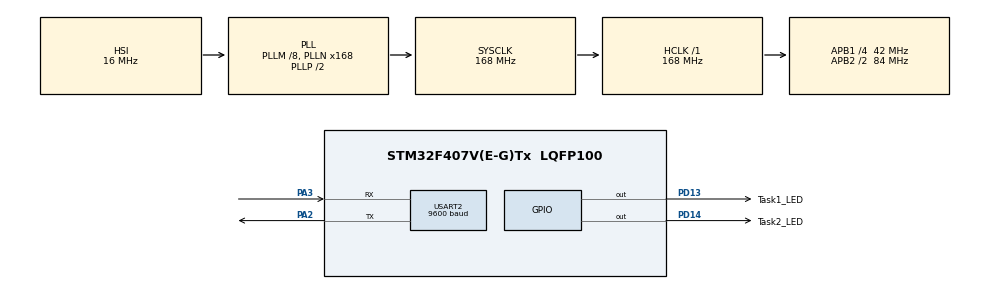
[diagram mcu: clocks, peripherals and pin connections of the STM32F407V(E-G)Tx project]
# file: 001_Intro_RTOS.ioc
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FREERTOS.Tasks01=myTask1,0,128,StartDefaultTask,Default,NULL,Dynamic,NULL,NULL;myTask2,-3,128,StartTask02,Default,NULL,Dynamic,NULL,NULL
FREERTOS.configUSE_NEWLIB_REENTRANT=1
Mcu.Family=STM32F4
Mcu.Name=STM32F407V(E-G)Tx
Mcu.Package=LQFP100
NVIC.PriorityGroup=NVIC_PRIORITYGROUP_4
PA13.Mode=Serial_Wire
PA13.Signal=SYS_JTMS-SWDIO
PA14.Mode=Serial_Wire
PA14.Signal=SYS_JTCK-SWCLK
PA2.Mode=Asynchronous
PA2.Signal=USART2_TX
PA3.Mode=Asynchronous
PA3.Signal=USART2_RX
PD13.GPIO_Label=Task1_LED
PD13.Signal=GPIO_Output
PD14.GPIO_Label=Task2_LED
PD14.Signal=GPIO_Output
ProjectManager.HeapSize=0x200
ProjectManager.StackSize=0x400
ProjectManager.TargetToolchain=STM32CubeIDE
RCC.48MHZClocksFreq_Value=84000000
RCC.AHBFreq_Value=168000000
RCC.APB1CLKDivider=RCC_HCLK_DIV4
RCC.APB1Freq_Value=42000000
RCC.APB1TimFreq_Value=84000000
RCC.APB2CLKDivider=RCC_HCLK_DIV2
RCC.APB2Freq_Value=84000000
RCC.APB2TimFreq_Value=168000000
RCC.CortexFreq_Value=168000000
RCC.HCLKFreq_Value=168000000
RCC.HSE_VALUE=25000000
RCC.HSI_VALUE=16000000
RCC.LSE_VALUE=32768
RCC.PLLM=8
RCC.PLLN=168
RCC.SYSCLKFreq_VALUE=168000000
RCC.SYSCLKSource=RCC_SYSCLKSOURCE_PLLCLK
RCC.VCOOutputFreq_Value=336000000
USART2.BaudRate=9600
USART2.VirtualMode=VM_ASYNC
VP_FREERTOS_VS_CMSIS_V1.Mode=CMSIS_V1
board=custom

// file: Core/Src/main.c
/* USER CODE BEGIN Header */
/**
 ******************************************************************************
 * @file           : main.c
 * @brief          : Main program body
 ******************************************************************************
 * @attention
 *
 * Copyright (c) 2022 STMicroelectronics.
 * All rights reserved.
 *
 * This software is licensed under terms that can be found in the LICENSE file
 * in the root directory of this software component.
 * If no LICENSE file comes with this software, it is provided AS-IS.
 *
 ******************************************************************************
 */
/* USER CODE END Header */
#include "main.h"
#include "cmsis_os.h"

/* USER CODE BEGIN Includes */

#include "stdio.h"

/* USER CODE END Includes */

/* USER CODE BEGIN PTD */

typedef enum
{
	false, true
}bool;
/* USER CODE END PTD */

/* USER CODE BEGIN PD */

bool task_flag1 = true;
bool task_flag2 = false;

/* USER CODE END PD */

UART_HandleTypeDef huart2;

//osThreadId myTask1Handle;
//osThreadId myTask2Handle;
/* USER CODE BEGIN PV */

uint32_t test=0;

// bildirim

TaskHandle_t myTaskHandle1 = NULL;
TaskHandle_t myTaskHandle2 = NULL;

char buffer[30] = {0};

/* USER CODE END PV */

void SystemClock_Config(void);
static void MX_GPIO_Init(void);
static void MX_USART2_UART_Init(void);
void StartDefaultTask(void const * argument);
void StartTask02(void const * argument);

/* USER CODE BEGIN PFP */

int _write(int file, char *ptr, int len);

/* USER CODE END PFP */

/* USER CODE BEGIN 0 */
void Task1_Handler(void *params);
void Task2_Handler(void *params);

int _write(int file, char *ptr, int len)
{

	for (int i = 0; i < len; i++)
	{
		ITM_SendChar((*ptr++));
	}
	return len;
}

/* USER CODE END 0 */

int main(void)
{
	/* USER CODE BEGIN 1 */
	DWT->CTRL |= ( 1 << 0 );
	/* USER CODE END 1 */

	/* MCU Configuration--------------------------------------------------------*/

	/* Reset of all peripherals, Initializes the Flash interface and the Systick. */
	HAL_Init();

	/* Configure the system clock */
	SystemClock_Config();

	/* Initialize all configured peripherals */
	MX_GPIO_Init();
	MX_USART2_UART_Init();
	/* USER CODE BEGIN 2 */

	SEGGER_SYSVIEW_Conf();
	vSetVarulMaxPRIGROUPValuE();
	SEGGER_SYSVIEW_Start();

	/* USER CODE END 2 */

	/* Create the thread(s) */
	/* definition and creation of myTask1 */
	//osThreadDef(myTask1, StartDefaultTask, osPriorityNormal, 0, 128);
	//myTask1Handle = osThreadCreate(osThread(myTask1), NULL);

	/* definition and creation of myTask2 */
	//osThreadDef(myTask2, StartTask02, osPriorityIdle, 0, 128);
	//myTask2Handle = osThreadCreate(osThread(myTask2), NULL);

	/* USER CODE BEGIN RTOS_THREADS */
	/* add threads, ... */

	printf("Starting RTOS Project. \n");

	xTaskCreate(Task1_Handler, "Task1", 650, NULL, 4,
			&myTaskHandle1);
	xTaskCreate(Task2_Handler, "Task2", 650, NULL, 4,
			&myTaskHandle2);

	vTaskStartScheduler();

	/* USER CODE END RTOS_THREADS */

	/* Start scheduler */
	//osKernelStart();

	/* We should never get here as control is now taken by the scheduler */
	/* Infinite loop */
	while (1) {

	}
}

void SystemClock_Config(void)
{
	RCC_OscInitTypeDef RCC_OscInitStruct = {0};
	RCC_ClkInitTypeDef RCC_ClkInitStruct = {0};

	/** Configure the main internal regulator output voltage
	 */
	__HAL_RCC_PWR_CLK_ENABLE();
	__HAL_PWR_VOLTAGESCALING_CONFIG(PWR_REGULATOR_VOLTAGE_SCALE1);

	/** Initializes the RCC Oscillators according to the specified parameters
	 * in the RCC_OscInitTypeDef structure.
	 */
	RCC_OscInitStruct.OscillatorType = RCC_OSCILLATORTYPE_HSI;
	RCC_OscInitStruct.HSIState = RCC_HSI_ON;
	RCC_OscInitStruct.HSICalibrationValue = RCC_HSICALIBRATION_DEFAULT;
	RCC_OscInitStruct.PLL.PLLState = RCC_PLL_ON;
	RCC_OscInitStruct.PLL.PLLSource = RCC_PLLSOURCE_HSI;
	RCC_OscInitStruct.PLL.PLLM = 8;
	RCC_OscInitStruct.PLL.PLLN = 168;
	RCC_OscInitStruct.PLL.PLLP = RCC_PLLP_DIV2;
	RCC_OscInitStruct.PLL.PLLQ = 4;
	if (HAL_RCC_OscConfig(&RCC_OscInitStruct) != HAL_OK)
	{
		Error_Handler();
	}

	/** Initializes the CPU, AHB and APB buses clocks
	 */
	RCC_ClkInitStruct.ClockType = RCC_CLOCKTYPE_HCLK|RCC_CLOCKTYPE_SYSCLK
			|RCC_CLOCKTYPE_PCLK1|RCC_CLOCKTYPE_PCLK2;
	RCC_ClkInitStruct.SYSCLKSource = RCC_SYSCLKSOURCE_PLLCLK;
	RCC_ClkInitStruct.AHBCLKDivider = RCC_SYSCLK_DIV1;
	RCC_ClkInitStruct.APB1CLKDivider = RCC_HCLK_DIV4;
	RCC_ClkInitStruct.APB2CLKDivider = RCC_HCLK_DIV2;

	if (HAL_RCC_ClockConfig(&RCC_ClkInitStruct, FLASH_LATENCY_5) != HAL_OK)
	{
		Error_Handler();
	}
}

static void MX_USART2_UART_Init(void)
{

	huart2.Instance = USART2;
	huart2.Init.BaudRate = 9600;
	huart2.Init.WordLength = UART_WORDLENGTH_8B;
	huart2.Init.StopBits = UART_STOPBITS_1;
	huart2.Init.Parity = UART_PARITY_NONE;
	huart2.Init.Mode = UART_MODE_TX_RX;
	huart2.Init.HwFlowCtl = UART_HWCONTROL_NONE;
	huart2.Init.OverSampling = UART_OVERSAMPLING_16;
	if (HAL_UART_Init(&huart2) != HAL_OK)
	{
		Error_Handler();
	}

}

static void MX_GPIO_Init(void)
{
	GPIO_InitTypeDef GPIO_InitStruct = {0};

	/* GPIO Ports Clock Enable */
	__HAL_RCC_GPIOA_CLK_ENABLE();
	__HAL_RCC_GPIOD_CLK_ENABLE();

	/*Configure GPIO pin Output Level */
	HAL_GPIO_WritePin(GPIOD, Task1_LED_Pin|Task2_LED_Pin, GPIO_PIN_RESET);

	/*Configure GPIO pins : Task1_LED_Pin Task2_LED_Pin */
	GPIO_InitStruct.Pin = Task1_LED_Pin|Task2_LED_Pin;
	GPIO_InitStruct.Mode = GPIO_MODE_OUTPUT_PP;
	GPIO_InitStruct.Pull = GPIO_NOPULL;
	GPIO_InitStruct.Speed = GPIO_SPEED_FREQ_LOW;
	HAL_GPIO_Init(GPIOD, &GPIO_InitStruct);

}

/* USER CODE BEGIN 4 */

void delay_FreeRTOS(uint32_t delayMS)
{
	uint32_t currentTick = xTaskGetTickCount();
	uint32_t delayTick 	 = pdMS_TO_TICKS(delayMS);

	while( xTaskGetTickCount() < ( currentTick + delayTick ) );
}

void Task1_Handler(void *params) {
	while (1)
	{
		test++;
		if(HAL_GPIO_ReadPin(GPIOA, GPIO_PIN_0))
		{

			delay_FreeRTOS(250);
			// eInc ile hedef gorevin degere 1 arttirilacak
			xTaskNotify(myTaskHandle1 , 0 , eIncrement);
			test = 0 ;

		}
		vTaskDelay(100);
	}

}

void Task2_Handler(void *params) {

	uint32_t pulNotificationValue = 0 ;

	while (1)
	{
		test--;
		if ( xTaskNotifyWait(0, 0, &pulNotificationValue, portMAX_DELAY) == pdTRUE )
		{

			HAL_GPIO_TogglePin(GPIOD, GPIO_PIN_12);
			HAL_GPIO_TogglePin(GPIOD, GPIO_PIN_13);
			HAL_GPIO_TogglePin(GPIOD, GPIO_PIN_14);
			HAL_GPIO_TogglePin(GPIOD, GPIO_PIN_15);
		}
		vTaskDelay(100);
	}
}

/* USER CODE END 4 */

void StartDefaultTask(void const * argument)
{
	for (;;) {
		osDelay(1);
	}
}

void StartTask02(void const * argument)
{
	for (;;) {
		osDelay(1);
	}
}

void Error_Handler(void)
{
	__disable_irq();
	while (1) {
	}
}
